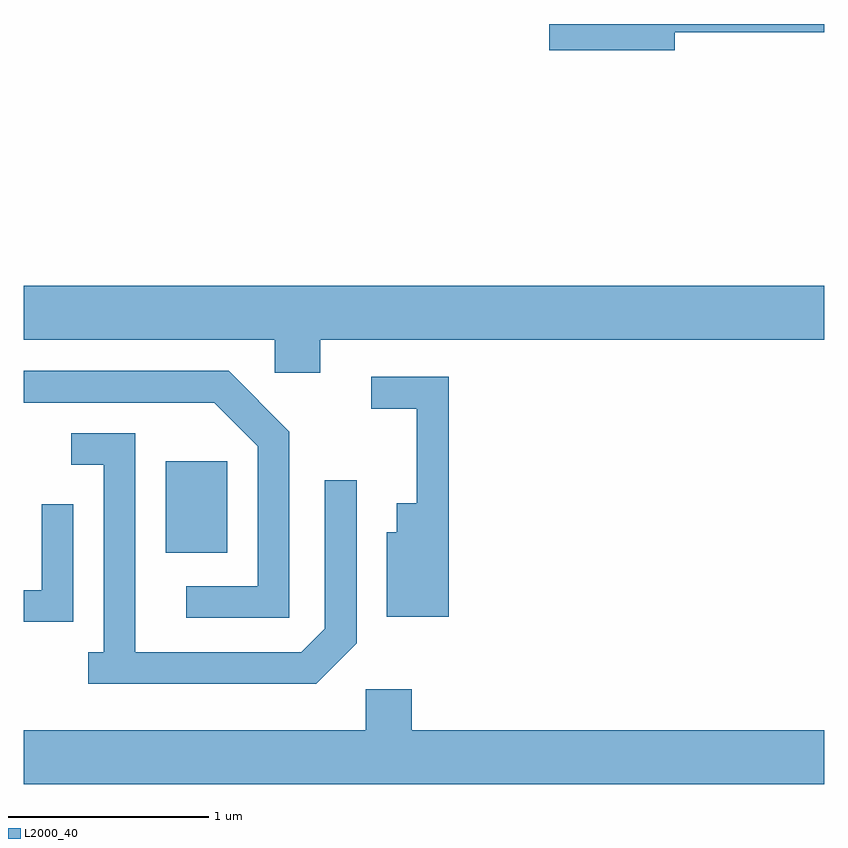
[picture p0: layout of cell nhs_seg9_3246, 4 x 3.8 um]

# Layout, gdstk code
import gdstk
lib = gdstk.Library(unit=1e-6, precision=1e-09)
def R(c, l, rs):  # rectangles x0, y0, x1, y1
    for r in rs: c.add(gdstk.rectangle(r[:2], r[2:], *l))
def P(c, l, *ps):  # polygons
    for p in ps: c.add(gdstk.Polygon(p, *l))
L2000_40 = (2000, 40)

nhs_seg9_3246 = lib.new_cell('nhs_seg9_3246')
R(nhs_seg9_3246, L2000_40, [(280.321,2061.791,280.629,2062.249)])
P(nhs_seg9_3246, L2000_40, [(282.864,2064.391),(283.611,2064.391),(283.611,2064.432),(282.236,2064.432),(282.236,2064.301),(282.864,2064.301)],
  [(281.094,2062.856),(283.611,2062.856),(283.611,2063.124),(279.611,2063.124),(279.611,2062.856),(280.866,2062.856),(280.866,2062.691),(281.094,2062.691)],
  [(280.939,2062.396),(280.637,2062.699),(279.611,2062.699),(279.611,2062.541),(280.564,2062.541),(280.781,2062.324),(280.781,2061.624),(280.423,2061.624),(280.423,2061.466),(280.939,2061.466)],
  [(281.734,2062.669),(281.348,2062.669),(281.348,2062.511),(281.576,2062.511),(281.576,2062.039),(281.476,2062.039),(281.476,2061.894),(281.426,2061.894),(281.426,2061.471),(281.734,2061.471)],
  [(281.274,2061.338),(281.274,2062.153),(281.116,2062.153),(281.116,2061.412),(280.999,2061.294),(280.169,2061.294),(280.169,2062.389),(279.848,2062.389),(279.848,2062.231),(280.011,2062.231),(280.011,2061.294),(279.933,2061.294),(279.933,2061.136),(281.072,2061.136)],
  [(279.859,2062.033),(279.701,2062.033),(279.701,2061.604),(279.611,2061.604),(279.611,2061.446),(279.859,2061.446)],
  [(283.611,2060.904),(281.549,2060.904),(281.549,2061.109),(281.321,2061.109),(281.321,2060.904),(279.611,2060.904),(279.611,2060.636),(283.611,2060.636)])

lib.write_gds('nhs_seg9_3246.gds')
